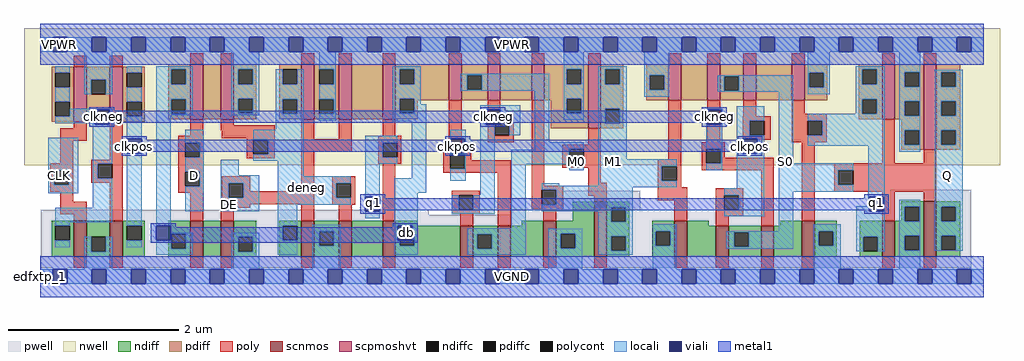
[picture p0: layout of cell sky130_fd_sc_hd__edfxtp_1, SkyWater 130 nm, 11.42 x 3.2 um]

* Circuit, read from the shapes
.subckt sky130_fd_sc_hd__edfxtp_1 CLK D DE VGND VNB VPB VPWR Q
XM1 VGND CLK n1 VNB sky130_fd_pr__nfet_01v8 w=0.42 l=0.15
XM2 n2 n1 VGND VNB sky130_fd_pr__nfet_01v8 w=0.42 l=0.15
XM3 n3 D n4 VNB sky130_fd_pr__nfet_01v8 w=0.42 l=0.15
XM4 VGND DE n3 VNB sky130_fd_pr__nfet_01v8 w=0.42 l=0.15
XM5 VGND DE n5 VNB sky130_fd_pr__nfet_01v8 w=0.42 l=0.15
XM6 n6 n5 VGND VNB sky130_fd_pr__nfet_01v8 w=0.42 l=0.15
XM7 n4 n7 n6 VNB sky130_fd_pr__nfet_01v8 w=0.42 l=0.15
XM8 n8 n1 n4 VNB sky130_fd_pr__nfet_01v8 w=0.36 l=0.15
XM9 n9 n2 n8 VNB sky130_fd_pr__nfet_01v8 w=0.36 l=0.15
XM10 VGND n10 n9 VNB sky130_fd_pr__nfet_01v8 w=0.42 l=0.15
XM11 n10 n8 VGND VNB sky130_fd_pr__nfet_01v8 w=0.64 l=0.15
XM12 n11 n10 VGND VNB sky130_fd_pr__nfet_01v8 w=0.42 l=0.15
XM13 n12 n2 n11 VNB sky130_fd_pr__nfet_01v8 w=0.36 l=0.15
XM14 n13 n1 n12 VNB sky130_fd_pr__nfet_01v8 w=0.36 l=0.15
XM15 VGND n7 n13 VNB sky130_fd_pr__nfet_01v8 w=0.42 l=0.15
XM16 VGND n12 n7 VNB sky130_fd_pr__nfet_01v8 w=0.42 l=0.15
XM17 Q n12 VGND VNB sky130_fd_pr__nfet_01v8 w=0.65 l=0.15
XM18 VPWR CLK n1 VPB sky130_fd_pr__pfet_01v8_hvt w=0.64 l=0.15
XM19 n2 n1 VPWR VPB sky130_fd_pr__pfet_01v8_hvt w=0.64 l=0.15
XM20 n14 D n4 VPB sky130_fd_pr__pfet_01v8_hvt w=0.64 l=0.15
XM21 VPWR n5 n14 VPB sky130_fd_pr__pfet_01v8_hvt w=0.64 l=0.15
XM22 VPWR DE n5 VPB sky130_fd_pr__pfet_01v8_hvt w=0.64 l=0.15
XM23 n15 DE VPWR VPB sky130_fd_pr__pfet_01v8_hvt w=0.64 l=0.15
XM24 n4 n7 n15 VPB sky130_fd_pr__pfet_01v8_hvt w=0.64 l=0.15
XM25 n8 n2 n4 VPB sky130_fd_pr__pfet_01v8_hvt w=0.42 l=0.15
XM26 n16 n1 n8 VPB sky130_fd_pr__pfet_01v8_hvt w=0.42 l=0.15
XM27 VPWR n10 n16 VPB sky130_fd_pr__pfet_01v8_hvt w=0.42 l=0.15
XM28 n10 n8 VPWR VPB sky130_fd_pr__pfet_01v8_hvt w=0.75 l=0.15
XM29 n17 n10 VPWR VPB sky130_fd_pr__pfet_01v8_hvt w=0.42 l=0.15
XM30 n12 n1 n17 VPB sky130_fd_pr__pfet_01v8_hvt w=0.42 l=0.15
XM31 n18 n2 n12 VPB sky130_fd_pr__pfet_01v8_hvt w=0.42 l=0.15
XM32 VPWR n7 n18 VPB sky130_fd_pr__pfet_01v8_hvt w=0.42 l=0.15
XM33 VPWR n12 n7 VPB sky130_fd_pr__pfet_01v8_hvt w=0.64 l=0.15
XM34 Q n12 VPWR VPB sky130_fd_pr__pfet_01v8_hvt w=1 l=0.15
.ends

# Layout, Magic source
magic
tech sky130A
magscale 1 2
<< nwell >>
rect -38 261 2246 582
<< pwell >>
rect 1220 157 1404 201
rect 1989 157 2179 203
rect 1 145 909 157
rect 1101 145 2179 157
rect 1 21 2179 145
rect 29 -17 63 21
<< scnmos >>
rect 79 47 109 131
rect 163 47 193 131
rect 351 47 381 131
rect 423 47 453 131
rect 611 47 641 131
rect 699 47 729 131
rect 801 47 831 131
rect 983 47 1013 119
rect 1071 47 1101 119
rect 1177 47 1207 131
rect 1296 47 1326 175
rect 1484 47 1514 131
rect 1581 47 1611 119
rect 1687 47 1717 119
rect 1782 47 1812 131
rect 1970 47 2000 131
rect 2067 47 2097 177
<< scpmoshvt >>
rect 79 363 109 491
rect 163 363 193 491
rect 351 369 381 497
rect 423 369 453 497
rect 611 369 641 497
rect 699 369 729 497
rect 801 369 831 497
rect 956 413 986 497
rect 1047 413 1077 497
rect 1150 413 1180 497
rect 1282 347 1312 497
rect 1470 413 1500 497
rect 1561 413 1591 497
rect 1645 413 1675 497
rect 1759 413 1789 497
rect 1970 369 2000 497
rect 2067 297 2097 497
<< ndiff >>
rect 27 119 79 131
rect 27 85 35 119
rect 69 85 79 119
rect 27 47 79 85
rect 109 93 163 131
rect 109 59 119 93
rect 153 59 163 93
rect 109 47 163 59
rect 193 119 245 131
rect 193 85 203 119
rect 237 85 245 119
rect 193 47 245 85
rect 299 100 351 131
rect 299 66 307 100
rect 341 66 351 100
rect 299 47 351 66
rect 381 47 423 131
rect 453 93 505 131
rect 453 59 463 93
rect 497 59 505 93
rect 453 47 505 59
rect 559 119 611 131
rect 559 85 567 119
rect 601 85 611 119
rect 559 47 611 85
rect 641 106 699 131
rect 641 72 653 106
rect 687 72 699 106
rect 641 47 699 72
rect 729 47 801 131
rect 831 119 883 131
rect 1246 131 1296 175
rect 1127 119 1177 131
rect 831 106 983 119
rect 831 72 841 106
rect 875 72 983 106
rect 831 47 983 72
rect 1013 99 1071 119
rect 1013 65 1023 99
rect 1057 65 1071 99
rect 1013 47 1071 65
rect 1101 47 1177 119
rect 1207 101 1296 131
rect 1207 67 1218 101
rect 1252 67 1296 101
rect 1207 47 1296 67
rect 1326 163 1378 175
rect 1326 129 1336 163
rect 1370 129 1378 163
rect 1326 95 1378 129
rect 1326 61 1336 95
rect 1370 61 1378 95
rect 1326 47 1378 61
rect 1432 107 1484 131
rect 1432 73 1440 107
rect 1474 73 1484 107
rect 1432 47 1484 73
rect 1514 119 1564 131
rect 2015 164 2067 177
rect 2015 131 2023 164
rect 1732 119 1782 131
rect 1514 47 1581 119
rect 1611 104 1687 119
rect 1611 70 1624 104
rect 1658 70 1687 104
rect 1611 47 1687 70
rect 1717 47 1782 119
rect 1812 107 1864 131
rect 1812 73 1822 107
rect 1856 73 1864 107
rect 1812 47 1864 73
rect 1918 94 1970 131
rect 1918 60 1926 94
rect 1960 60 1970 94
rect 1918 47 1970 60
rect 2000 130 2023 131
rect 2057 130 2067 164
rect 2000 96 2067 130
rect 2000 62 2023 96
rect 2057 62 2067 96
rect 2000 47 2067 62
rect 2097 164 2153 177
rect 2097 130 2109 164
rect 2143 130 2153 164
rect 2097 96 2153 130
rect 2097 62 2109 96
rect 2143 62 2153 96
rect 2097 47 2153 62
<< pdiff >>
rect 27 477 79 491
rect 27 443 35 477
rect 69 443 79 477
rect 27 409 79 443
rect 27 375 35 409
rect 69 375 79 409
rect 27 363 79 375
rect 109 461 163 491
rect 109 427 119 461
rect 153 427 163 461
rect 109 363 163 427
rect 193 477 245 491
rect 193 443 203 477
rect 237 443 245 477
rect 193 409 245 443
rect 193 375 203 409
rect 237 375 245 409
rect 193 363 245 375
rect 299 485 351 497
rect 299 451 307 485
rect 341 451 351 485
rect 299 415 351 451
rect 299 381 307 415
rect 341 381 351 415
rect 299 369 351 381
rect 381 369 423 497
rect 453 485 505 497
rect 453 451 463 485
rect 497 451 505 485
rect 453 417 505 451
rect 453 383 463 417
rect 497 383 505 417
rect 453 369 505 383
rect 559 485 611 497
rect 559 451 567 485
rect 601 451 611 485
rect 559 415 611 451
rect 559 381 567 415
rect 601 381 611 415
rect 559 369 611 381
rect 641 485 699 497
rect 641 451 653 485
rect 687 451 699 485
rect 641 415 699 451
rect 641 381 653 415
rect 687 381 699 415
rect 641 369 699 381
rect 729 369 801 497
rect 831 485 956 497
rect 831 451 841 485
rect 875 451 956 485
rect 831 417 956 451
rect 831 383 841 417
rect 875 413 956 417
rect 986 472 1047 497
rect 986 438 999 472
rect 1033 438 1047 472
rect 986 413 1047 438
rect 1077 413 1150 497
rect 1180 485 1282 497
rect 1180 451 1232 485
rect 1266 451 1282 485
rect 1180 417 1282 451
rect 1180 413 1232 417
rect 875 383 883 413
rect 831 369 883 383
rect 1195 383 1232 413
rect 1266 383 1282 417
rect 1195 347 1282 383
rect 1312 485 1364 497
rect 1312 451 1322 485
rect 1356 451 1364 485
rect 1312 393 1364 451
rect 1418 472 1470 497
rect 1418 438 1426 472
rect 1460 438 1470 472
rect 1418 413 1470 438
rect 1500 413 1561 497
rect 1591 469 1645 497
rect 1591 435 1601 469
rect 1635 435 1645 469
rect 1591 413 1645 435
rect 1675 413 1759 497
rect 1789 477 1842 497
rect 1789 443 1800 477
rect 1834 443 1842 477
rect 1789 413 1842 443
rect 1916 485 1970 497
rect 1916 451 1924 485
rect 1958 451 1970 485
rect 1916 415 1970 451
rect 1312 359 1322 393
rect 1356 359 1364 393
rect 1312 347 1364 359
rect 1916 381 1924 415
rect 1958 381 1970 415
rect 1916 369 1970 381
rect 2000 479 2067 497
rect 2000 445 2023 479
rect 2057 445 2067 479
rect 2000 411 2067 445
rect 2000 377 2023 411
rect 2057 377 2067 411
rect 2000 369 2067 377
rect 2015 343 2067 369
rect 2015 309 2023 343
rect 2057 309 2067 343
rect 2015 297 2067 309
rect 2097 479 2153 497
rect 2097 445 2109 479
rect 2143 445 2153 479
rect 2097 411 2153 445
rect 2097 377 2109 411
rect 2143 377 2153 411
rect 2097 343 2153 377
rect 2097 309 2109 343
rect 2143 309 2153 343
rect 2097 297 2153 309
<< ndiffc >>
rect 35 85 69 119
rect 119 59 153 93
rect 203 85 237 119
rect 307 66 341 100
rect 463 59 497 93
rect 567 85 601 119
rect 653 72 687 106
rect 841 72 875 106
rect 1023 65 1057 99
rect 1218 67 1252 101
rect 1336 129 1370 163
rect 1336 61 1370 95
rect 1440 73 1474 107
rect 1624 70 1658 104
rect 1822 73 1856 107
rect 1926 60 1960 94
rect 2023 130 2057 164
rect 2023 62 2057 96
rect 2109 130 2143 164
rect 2109 62 2143 96
<< pdiffc >>
rect 35 443 69 477
rect 35 375 69 409
rect 119 427 153 461
rect 203 443 237 477
rect 203 375 237 409
rect 307 451 341 485
rect 307 381 341 415
rect 463 451 497 485
rect 463 383 497 417
rect 567 451 601 485
rect 567 381 601 415
rect 653 451 687 485
rect 653 381 687 415
rect 841 451 875 485
rect 841 383 875 417
rect 999 438 1033 472
rect 1232 451 1266 485
rect 1232 383 1266 417
rect 1322 451 1356 485
rect 1426 438 1460 472
rect 1601 435 1635 469
rect 1800 443 1834 477
rect 1924 451 1958 485
rect 1322 359 1356 393
rect 1924 381 1958 415
rect 2023 445 2057 479
rect 2023 377 2057 411
rect 2023 309 2057 343
rect 2109 445 2143 479
rect 2109 377 2143 411
rect 2109 309 2143 343
<< poly >>
rect 79 491 109 517
rect 163 491 193 517
rect 351 497 381 523
rect 423 497 453 523
rect 611 497 641 523
rect 699 497 729 523
rect 801 497 831 523
rect 956 497 986 523
rect 1047 497 1077 523
rect 1150 497 1180 523
rect 1282 497 1312 523
rect 1470 497 1500 523
rect 1561 497 1591 523
rect 1645 497 1675 523
rect 1759 497 1789 523
rect 1970 497 2000 523
rect 2067 497 2097 523
rect 79 348 109 363
rect 47 318 109 348
rect 47 265 77 318
rect 163 274 193 363
rect 351 330 381 369
rect 423 354 453 369
rect 423 343 549 354
rect 23 249 77 265
rect 23 215 33 249
rect 67 215 77 249
rect 119 264 193 274
rect 119 230 135 264
rect 169 230 193 264
rect 119 220 193 230
rect 23 199 77 215
rect 47 176 77 199
rect 47 146 109 176
rect 79 131 109 146
rect 163 131 193 220
rect 323 314 383 330
rect 425 324 549 343
rect 323 280 339 314
rect 373 280 383 314
rect 323 246 383 280
rect 483 321 549 324
rect 483 287 499 321
rect 533 287 549 321
rect 483 277 549 287
rect 611 322 641 369
rect 699 322 729 369
rect 801 330 831 369
rect 611 292 729 322
rect 791 314 845 330
rect 323 212 339 246
rect 373 212 383 246
rect 323 196 383 212
rect 425 219 491 235
rect 351 131 381 196
rect 425 185 441 219
rect 475 200 491 219
rect 611 200 641 292
rect 791 280 801 314
rect 835 280 845 314
rect 956 297 986 413
rect 1047 381 1077 413
rect 1047 365 1108 381
rect 1047 331 1064 365
rect 1098 331 1108 365
rect 1047 315 1108 331
rect 791 264 845 280
rect 943 287 1009 297
rect 475 185 641 200
rect 425 176 641 185
rect 423 170 641 176
rect 423 162 491 170
rect 423 131 453 162
rect 611 131 641 170
rect 683 219 737 235
rect 683 185 693 219
rect 727 185 737 219
rect 683 169 737 185
rect 699 131 729 169
rect 801 131 831 264
rect 943 253 959 287
rect 993 273 1009 287
rect 993 253 1101 273
rect 943 243 1101 253
rect 963 191 1029 201
rect 963 157 979 191
rect 1013 157 1029 191
rect 963 147 1029 157
rect 983 119 1013 147
rect 1071 119 1101 243
rect 1150 213 1180 413
rect 1282 309 1312 347
rect 1222 299 1312 309
rect 1222 265 1238 299
rect 1272 265 1312 299
rect 1470 275 1500 413
rect 1561 315 1591 413
rect 1645 375 1675 413
rect 1759 381 1789 413
rect 1644 365 1710 375
rect 1644 331 1660 365
rect 1694 331 1710 365
rect 1644 321 1710 331
rect 1759 365 1840 381
rect 1759 331 1796 365
rect 1830 331 1840 365
rect 1759 315 1840 331
rect 1222 255 1312 265
rect 1282 220 1312 255
rect 1445 259 1500 275
rect 1445 225 1455 259
rect 1489 225 1500 259
rect 1548 299 1602 315
rect 1548 265 1558 299
rect 1592 279 1602 299
rect 1592 265 1717 279
rect 1548 249 1717 265
rect 1150 203 1224 213
rect 1150 169 1174 203
rect 1208 169 1224 203
rect 1282 190 1326 220
rect 1296 175 1326 190
rect 1445 209 1500 225
rect 1445 179 1514 209
rect 1150 159 1224 169
rect 1177 131 1207 159
rect 1484 131 1514 179
rect 1581 191 1645 207
rect 1581 157 1601 191
rect 1635 157 1645 191
rect 1581 141 1645 157
rect 1581 119 1611 141
rect 1687 119 1717 249
rect 1782 131 1812 315
rect 1970 265 2000 369
rect 2067 265 2097 297
rect 1858 249 2097 265
rect 1858 215 1868 249
rect 1902 215 2097 249
rect 1858 199 2097 215
rect 1970 131 2000 199
rect 2067 177 2097 199
rect 79 21 109 47
rect 163 21 193 47
rect 351 21 381 47
rect 423 21 453 47
rect 611 21 641 47
rect 699 21 729 47
rect 801 21 831 47
rect 983 21 1013 47
rect 1071 21 1101 47
rect 1177 21 1207 47
rect 1296 21 1326 47
rect 1484 21 1514 47
rect 1581 21 1611 47
rect 1687 21 1717 47
rect 1782 21 1812 47
rect 1970 21 2000 47
rect 2067 21 2097 47
<< polycont >>
rect 33 215 67 249
rect 135 230 169 264
rect 339 280 373 314
rect 499 287 533 321
rect 339 212 373 246
rect 441 185 475 219
rect 801 280 835 314
rect 1064 331 1098 365
rect 693 185 727 219
rect 959 253 993 287
rect 979 157 1013 191
rect 1238 265 1272 299
rect 1660 331 1694 365
rect 1796 331 1830 365
rect 1455 225 1489 259
rect 1558 265 1592 299
rect 1174 169 1208 203
rect 1601 157 1635 191
rect 1868 215 1902 249
<< locali >>
rect 0 527 29 561
rect 63 527 121 561
rect 155 527 213 561
rect 247 527 305 561
rect 339 527 397 561
rect 431 527 489 561
rect 523 527 581 561
rect 615 527 673 561
rect 707 527 765 561
rect 799 527 857 561
rect 891 527 949 561
rect 983 527 1041 561
rect 1075 527 1133 561
rect 1167 527 1225 561
rect 1259 527 1317 561
rect 1351 527 1409 561
rect 1443 527 1501 561
rect 1535 527 1593 561
rect 1627 527 1685 561
rect 1719 527 1777 561
rect 1811 527 1869 561
rect 1903 527 1961 561
rect 1995 527 2053 561
rect 2087 527 2145 561
rect 2179 527 2208 561
rect 35 477 69 493
rect 35 409 69 443
rect 103 461 169 527
rect 103 427 119 461
rect 153 427 169 461
rect 203 477 237 493
rect 203 409 237 443
rect 69 391 169 393
rect 69 375 127 391
rect 35 359 127 375
rect 123 357 127 359
rect 161 357 169 391
rect 19 249 89 325
rect 19 215 33 249
rect 67 215 89 249
rect 19 195 89 215
rect 123 264 169 357
rect 123 230 135 264
rect 123 161 169 230
rect 35 127 169 161
rect 203 323 237 375
rect 35 119 69 127
rect 203 119 237 289
rect 35 69 69 85
rect 103 59 119 93
rect 153 59 169 93
rect 203 69 237 85
rect 271 485 357 493
rect 271 451 307 485
rect 341 451 357 485
rect 271 415 357 451
rect 271 381 307 415
rect 341 381 357 415
rect 271 378 357 381
rect 447 485 513 527
rect 653 485 692 527
rect 447 451 463 485
rect 497 451 513 485
rect 447 417 513 451
rect 447 383 463 417
rect 497 383 513 417
rect 447 378 513 383
rect 551 451 567 485
rect 601 451 617 485
rect 551 415 617 451
rect 551 381 567 415
rect 601 381 617 415
rect 271 119 305 378
rect 551 344 617 381
rect 687 451 692 485
rect 653 415 692 451
rect 687 381 692 415
rect 653 365 692 381
rect 825 485 891 493
rect 825 451 841 485
rect 875 451 891 485
rect 1225 485 1272 527
rect 825 417 891 451
rect 983 472 1191 475
rect 983 438 999 472
rect 1033 438 1191 472
rect 983 435 1191 438
rect 825 383 841 417
rect 875 404 891 417
rect 875 383 903 404
rect 825 364 903 383
rect 339 314 383 344
rect 373 280 383 314
rect 339 246 383 280
rect 499 321 617 344
rect 533 287 617 321
rect 373 212 383 246
rect 339 153 383 212
rect 422 237 465 274
rect 499 271 617 287
rect 422 219 513 237
rect 422 185 441 219
rect 475 185 513 219
rect 422 153 513 185
rect 556 235 617 271
rect 761 314 835 330
rect 761 280 801 314
rect 761 264 835 280
rect 556 219 727 235
rect 556 185 693 219
rect 556 169 727 185
rect 761 187 795 264
rect 869 230 903 364
rect 1030 391 1123 401
rect 1030 357 1042 391
rect 1076 365 1123 391
rect 556 119 601 169
rect 761 137 795 153
rect 829 196 903 230
rect 959 323 996 344
rect 959 289 960 323
rect 994 289 996 323
rect 959 287 996 289
rect 993 253 996 287
rect 959 225 996 253
rect 305 100 357 103
rect 305 85 307 100
rect 103 17 169 59
rect 271 66 307 85
rect 341 66 357 100
rect 271 51 357 66
rect 447 93 513 103
rect 447 59 463 93
rect 497 59 513 93
rect 447 17 513 59
rect 556 85 567 119
rect 556 51 601 85
rect 637 106 703 122
rect 637 72 653 106
rect 687 72 703 106
rect 637 17 703 72
rect 829 119 883 196
rect 1030 191 1064 357
rect 1098 331 1123 365
rect 1157 315 1191 435
rect 1225 451 1232 485
rect 1266 451 1272 485
rect 1225 417 1272 451
rect 1225 383 1232 417
rect 1266 383 1272 417
rect 1225 367 1272 383
rect 1306 485 1372 493
rect 1306 451 1322 485
rect 1356 451 1372 485
rect 1306 393 1372 451
rect 1414 472 1472 527
rect 1414 438 1426 472
rect 1460 438 1472 472
rect 1796 477 1848 527
rect 1414 421 1472 438
rect 1585 469 1762 471
rect 1585 435 1601 469
rect 1635 435 1762 469
rect 1585 433 1762 435
rect 1306 359 1322 393
rect 1356 359 1372 393
rect 1157 299 1272 315
rect 1157 297 1238 299
rect 963 157 979 191
rect 1013 157 1064 191
rect 963 147 1064 157
rect 1102 265 1238 297
rect 1102 263 1272 265
rect 829 85 837 119
rect 871 106 883 119
rect 1102 113 1136 263
rect 1238 249 1272 263
rect 1306 275 1372 359
rect 1558 391 1596 393
rect 1558 357 1560 391
rect 1594 357 1596 391
rect 1558 299 1596 357
rect 1306 259 1489 275
rect 1306 225 1455 259
rect 1592 265 1596 299
rect 1558 249 1596 265
rect 1630 365 1694 399
rect 1630 331 1660 365
rect 1630 323 1694 331
rect 1630 289 1644 323
rect 1678 289 1694 323
rect 1174 213 1214 219
rect 1306 213 1489 225
rect 1174 209 1489 213
rect 1174 203 1387 209
rect 1630 207 1694 289
rect 1208 169 1387 203
rect 1174 163 1387 169
rect 1174 153 1336 163
rect 829 72 841 85
rect 875 72 883 106
rect 829 51 883 72
rect 1001 99 1136 113
rect 1306 129 1336 153
rect 1370 129 1387 163
rect 1601 191 1694 207
rect 1635 157 1694 191
rect 1601 141 1694 157
rect 1728 265 1762 433
rect 1796 443 1800 477
rect 1834 443 1848 477
rect 1796 427 1848 443
rect 1908 485 1976 493
rect 1908 451 1924 485
rect 1958 451 1976 485
rect 1908 415 1976 451
rect 1908 381 1924 415
rect 1958 381 1976 415
rect 1796 365 1976 381
rect 1830 331 1976 365
rect 1796 306 1976 331
rect 1728 249 1902 265
rect 1728 215 1868 249
rect 1728 199 1902 215
rect 1001 65 1023 99
rect 1057 65 1136 99
rect 1001 51 1136 65
rect 1189 101 1268 112
rect 1189 67 1218 101
rect 1252 67 1268 101
rect 1189 17 1268 67
rect 1306 95 1387 129
rect 1306 61 1336 95
rect 1370 61 1387 95
rect 1306 51 1387 61
rect 1433 107 1488 123
rect 1728 107 1762 199
rect 1938 187 1976 306
rect 2010 479 2059 527
rect 2010 445 2023 479
rect 2057 445 2059 479
rect 2010 411 2059 445
rect 2010 377 2023 411
rect 2057 377 2059 411
rect 2010 343 2059 377
rect 2010 309 2023 343
rect 2057 309 2059 343
rect 2010 293 2059 309
rect 2093 479 2159 484
rect 2093 445 2109 479
rect 2143 445 2159 479
rect 2093 411 2159 445
rect 2093 377 2109 411
rect 2143 377 2159 411
rect 2093 343 2159 377
rect 2093 309 2109 343
rect 2143 309 2159 343
rect 1938 165 1940 187
rect 1910 153 1940 165
rect 1974 153 1976 187
rect 1433 73 1440 107
rect 1474 73 1488 107
rect 1433 17 1488 73
rect 1605 104 1762 107
rect 1605 70 1624 104
rect 1658 70 1762 104
rect 1605 66 1762 70
rect 1810 107 1873 123
rect 1810 73 1822 107
rect 1856 73 1873 107
rect 1810 17 1873 73
rect 1910 94 1976 153
rect 1910 60 1926 94
rect 1960 60 1976 94
rect 2010 164 2059 180
rect 2010 130 2023 164
rect 2057 130 2059 164
rect 2010 96 2059 130
rect 2010 62 2023 96
rect 2057 62 2059 96
rect 2010 17 2059 62
rect 2093 164 2159 309
rect 2093 130 2109 164
rect 2143 130 2159 164
rect 2093 96 2159 130
rect 2093 62 2109 96
rect 2143 62 2159 96
rect 2093 61 2159 62
rect 0 -17 29 17
rect 63 -17 121 17
rect 155 -17 213 17
rect 247 -17 305 17
rect 339 -17 397 17
rect 431 -17 489 17
rect 523 -17 581 17
rect 615 -17 673 17
rect 707 -17 765 17
rect 799 -17 857 17
rect 891 -17 949 17
rect 983 -17 1041 17
rect 1075 -17 1133 17
rect 1167 -17 1225 17
rect 1259 -17 1317 17
rect 1351 -17 1409 17
rect 1443 -17 1501 17
rect 1535 -17 1593 17
rect 1627 -17 1685 17
rect 1719 -17 1777 17
rect 1811 -17 1869 17
rect 1903 -17 1961 17
rect 1995 -17 2053 17
rect 2087 -17 2145 17
rect 2179 -17 2208 17
<< viali >>
rect 29 527 63 561
rect 121 527 155 561
rect 213 527 247 561
rect 305 527 339 561
rect 397 527 431 561
rect 489 527 523 561
rect 581 527 615 561
rect 673 527 707 561
rect 765 527 799 561
rect 857 527 891 561
rect 949 527 983 561
rect 1041 527 1075 561
rect 1133 527 1167 561
rect 1225 527 1259 561
rect 1317 527 1351 561
rect 1409 527 1443 561
rect 1501 527 1535 561
rect 1593 527 1627 561
rect 1685 527 1719 561
rect 1777 527 1811 561
rect 1869 527 1903 561
rect 1961 527 1995 561
rect 2053 527 2087 561
rect 2145 527 2179 561
rect 127 357 161 391
rect 203 289 237 323
rect 1042 365 1076 391
rect 1042 357 1064 365
rect 1064 357 1076 365
rect 271 85 305 119
rect 761 153 795 187
rect 960 289 994 323
rect 837 106 871 119
rect 1560 357 1594 391
rect 1644 289 1678 323
rect 837 85 841 106
rect 841 85 871 106
rect 1940 153 1974 187
rect 29 -17 63 17
rect 121 -17 155 17
rect 213 -17 247 17
rect 305 -17 339 17
rect 397 -17 431 17
rect 489 -17 523 17
rect 581 -17 615 17
rect 673 -17 707 17
rect 765 -17 799 17
rect 857 -17 891 17
rect 949 -17 983 17
rect 1041 -17 1075 17
rect 1133 -17 1167 17
rect 1225 -17 1259 17
rect 1317 -17 1351 17
rect 1409 -17 1443 17
rect 1501 -17 1535 17
rect 1593 -17 1627 17
rect 1685 -17 1719 17
rect 1777 -17 1811 17
rect 1869 -17 1903 17
rect 1961 -17 1995 17
rect 2053 -17 2087 17
rect 2145 -17 2179 17
<< metal1 >>
rect 0 561 2208 592
rect 0 527 29 561
rect 63 527 121 561
rect 155 527 213 561
rect 247 527 305 561
rect 339 527 397 561
rect 431 527 489 561
rect 523 527 581 561
rect 615 527 673 561
rect 707 527 765 561
rect 799 527 857 561
rect 891 527 949 561
rect 983 527 1041 561
rect 1075 527 1133 561
rect 1167 527 1225 561
rect 1259 527 1317 561
rect 1351 527 1409 561
rect 1443 527 1501 561
rect 1535 527 1593 561
rect 1627 527 1685 561
rect 1719 527 1777 561
rect 1811 527 1869 561
rect 1903 527 1961 561
rect 1995 527 2053 561
rect 2087 527 2145 561
rect 2179 527 2208 561
rect 0 496 2208 527
rect 115 391 173 397
rect 115 357 127 391
rect 161 388 173 391
rect 1030 391 1088 397
rect 1030 388 1042 391
rect 161 360 1042 388
rect 161 357 173 360
rect 115 351 173 357
rect 1030 357 1042 360
rect 1076 388 1088 391
rect 1548 391 1606 397
rect 1548 388 1560 391
rect 1076 360 1560 388
rect 1076 357 1088 360
rect 1030 351 1088 357
rect 1548 357 1560 360
rect 1594 357 1606 391
rect 1548 351 1606 357
rect 191 323 249 329
rect 191 289 203 323
rect 237 320 249 323
rect 948 323 1006 329
rect 948 320 960 323
rect 237 292 960 320
rect 237 289 249 292
rect 191 283 249 289
rect 948 289 960 292
rect 994 320 1006 323
rect 1632 323 1690 329
rect 1632 320 1644 323
rect 994 292 1644 320
rect 994 289 1006 292
rect 948 283 1006 289
rect 1632 289 1644 292
rect 1678 289 1690 323
rect 1632 283 1690 289
rect 749 187 807 193
rect 749 153 761 187
rect 795 184 807 187
rect 1928 187 1986 193
rect 1928 184 1940 187
rect 795 156 1940 184
rect 795 153 807 156
rect 749 147 807 153
rect 1928 153 1940 156
rect 1974 153 1986 187
rect 1928 147 1986 153
rect 259 119 317 125
rect 259 85 271 119
rect 305 116 317 119
rect 825 119 883 125
rect 825 116 837 119
rect 305 85 837 116
rect 871 85 883 119
rect 259 79 883 85
rect 0 17 2208 48
rect 0 -17 29 17
rect 63 -17 121 17
rect 155 -17 213 17
rect 247 -17 305 17
rect 339 -17 397 17
rect 431 -17 489 17
rect 523 -17 581 17
rect 615 -17 673 17
rect 707 -17 765 17
rect 799 -17 857 17
rect 891 -17 949 17
rect 983 -17 1041 17
rect 1075 -17 1133 17
rect 1167 -17 1225 17
rect 1259 -17 1317 17
rect 1351 -17 1409 17
rect 1443 -17 1501 17
rect 1535 -17 1593 17
rect 1627 -17 1685 17
rect 1719 -17 1777 17
rect 1811 -17 1869 17
rect 1903 -17 1961 17
rect 1995 -17 2053 17
rect 2087 -17 2145 17
rect 2179 -17 2208 17
rect 0 -48 2208 -17
<< labels >>
rlabel comment s 0 0 0 0 4 edfxtp_1
flabel comment s 973 304 973 304 0 FreeSans 200 0 0 0 clkpos
flabel comment s 1060 374 1060 374 0 FreeSans 200 0 0 0 clkneg
flabel comment s 1957 174 1957 174 0 FreeSans 200 0 0 0 q1
flabel comment s 219 304 219 304 0 FreeSans 200 0 0 0 clkpos
flabel comment s 147 374 147 374 0 FreeSans 200 0 0 0 clkneg
flabel comment s 623 209 623 209 0 FreeSans 200 0 0 0 deneg
flabel comment s 856 104 856 104 0 FreeSans 200 0 0 0 db
flabel comment s 780 174 780 174 0 FreeSans 200 0 0 0 q1
flabel comment s 1660 304 1660 304 0 FreeSans 200 0 0 0 clkpos
flabel comment s 1577 374 1577 374 0 FreeSans 200 0 0 0 clkneg
flabel comment s 1745 269 1745 269 0 FreeSans 200 0 0 0 S0
flabel comment s 1256 269 1256 269 0 FreeSans 200 0 0 0 M0
flabel comment s 1342 269 1342 269 0 FreeSans 200 0 0 0 M1
flabel metal1 s 29 527 63 561 0 FreeSans 200 0 0 0 VPWR
port 7 nsew power bidirectional abutment
flabel metal1 s 29 -17 63 17 0 FreeSans 200 0 0 0 VGND
port 4 nsew ground bidirectional abutment
flabel locali s 29 221 63 255 0 FreeSans 400 0 0 0 CLK
port 1 nsew clock input
flabel locali s 426 153 460 187 0 FreeSans 400 0 0 0 DE
port 3 nsew signal input
flabel locali s 344 221 378 255 0 FreeSans 400 0 0 0 D
port 2 nsew signal input
flabel locali s 2105 221 2139 255 0 FreeSans 400 0 0 0 Q
port 8 nsew signal output
flabel nwell s 29 527 63 561 0 FreeSans 200 0 0 0 VPB
port 6 nsew power bidirectional
flabel nwell s 46 544 46 544 0 FreeSans 200 0 0 0 VPB
flabel pwell s 29 -17 63 17 0 FreeSans 400 0 0 0 VNB
port 5 nsew ground bidirectional
flabel pwell s 46 0 46 0 0 FreeSans 200 0 0 0 VNB
flabel pwell s 46 0 46 0 0 FreeSans 200 0 0 0 VNB
rlabel metal1 s 0 -48 2208 48 1 VGND
port 4 nsew ground bidirectional abutment
rlabel metal1 s 0 496 2208 592 1 VPWR
port 7 nsew power bidirectional abutment
<< properties >>
string FIXED_BBOX 0 0 2208 544
string GDS_END 3015124
string GDS_FILE $PDKPATH/libs.ref/sky130_fd_sc_hd/gds/sky130_fd_sc_hd.gds
string GDS_START 2997690
string LEFclass CORE
string LEFsite unithd
string LEFsymmetry X Y R90
<< end >>
